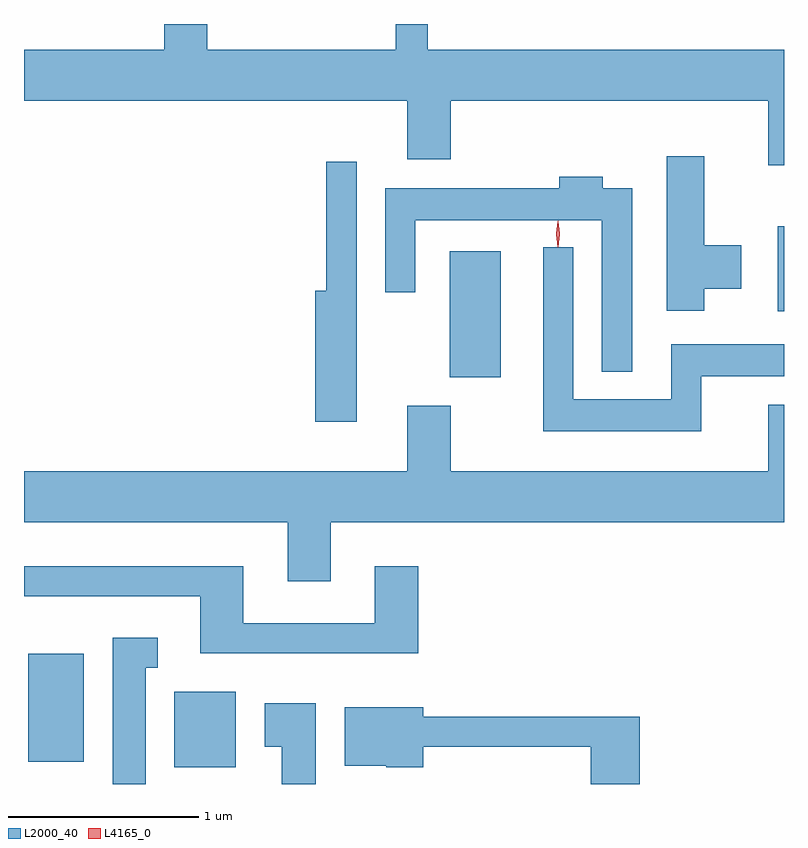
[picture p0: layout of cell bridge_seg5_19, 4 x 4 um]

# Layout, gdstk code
import gdstk
lib = gdstk.Library(unit=1e-6, precision=1e-09)
def R(c, l, rs):  # rectangles x0, y0, x1, y1
    for r in rs: c.add(gdstk.rectangle(r[:2], r[2:], *l))
def P(c, l, *ps):  # polygons
    for p in ps: c.add(gdstk.Polygon(p, *l))
L2000_40 = (2000, 40)
L4165_0 = (4165, 0)

bridge_seg5_19 = lib.new_cell('bridge_seg5_19')
R(bridge_seg5_19, L2000_40, [(1262.766,1473.266,1263.089,1473.664), (1261.996,1473.296,1262.289,1473.864), (1264.216,1475.321,1264.484,1475.984), (1265.941,1475.666,1265.974,1476.114)])
P(bridge_seg5_19, L2000_40, [(1265.974,1477.044),(1264.099,1477.044),(1264.099,1477.179),(1263.931,1477.179),(1263.931,1477.044),(1262.939,1477.044),(1262.939,1477.179),(1262.711,1477.179),(1262.711,1477.044),(1261.974,1477.044),(1261.974,1476.776),(1263.991,1476.776),(1263.991,1476.466),(1264.219,1476.466),(1264.219,1476.776),(1265.891,1476.776),(1265.891,1476.436),(1265.974,1476.436)],
  [(1265.554,1475.786),(1265.749,1475.786),(1265.749,1476.014),(1265.554,1476.014),(1265.554,1476.484),(1265.356,1476.484),(1265.356,1475.671),(1265.554,1475.671)],
  [(1263.724,1476.453),(1263.566,1476.453),(1263.566,1475.774),(1263.506,1475.774),(1263.506,1475.086),(1263.724,1475.086)],
  [(1265.174,1476.314),(1265.019,1476.314),(1265.019,1476.374),(1264.791,1476.374),(1264.791,1476.314),(1263.876,1476.314),(1263.876,1475.768),(1264.034,1475.768),(1264.034,1476.146),(1265.016,1476.146),(1265.016,1475.348),(1265.174,1475.348)],
  [(1265.539,1475.326),(1265.974,1475.326),(1265.974,1475.494),(1265.381,1475.494),(1265.381,1475.204),(1264.864,1475.204),(1264.864,1476.003),(1264.706,1476.003),(1264.706,1475.036),(1265.539,1475.036)],
  [(1263.589,1474.556),(1265.974,1474.556),(1265.974,1475.174),(1265.891,1475.174),(1265.891,1474.824),(1264.219,1474.824),(1264.219,1475.169),(1263.991,1475.169),(1263.991,1474.824),(1261.974,1474.824),(1261.974,1474.556),(1263.361,1474.556),(1263.361,1474.246),(1263.589,1474.246)],
  [(1264.049,1474.324),(1263.821,1474.324),(1263.821,1474.024),(1263.129,1474.024),(1263.129,1474.324),(1261.974,1474.324),(1261.974,1474.166),(1262.901,1474.166),(1262.901,1473.866),(1264.049,1473.866)],
  [(1262.614,1473.791),(1262.678,1473.791),(1262.678,1473.949),(1262.441,1473.949),(1262.441,1473.179),(1262.614,1473.179)],
  [(1263.509,1473.604),(1263.241,1473.604),(1263.241,1473.376),(1263.331,1473.376),(1263.331,1473.179),(1263.509,1473.179)],
  [(1265.214,1473.534),(1264.074,1473.534),(1264.074,1473.584),(1263.661,1473.584),(1263.661,1473.276),(1263.88,1473.276),(1263.88,1473.266),(1264.074,1473.266),(1264.074,1473.376),(1264.956,1473.376),(1264.956,1473.179),(1265.214,1473.179)])
P(bridge_seg5_19, L4165_0, [(1264.784,1476.004),(1264.775,1476.073),(1264.784,1476.142),(1264.785,1476.143),(1264.785,1476.142),(1264.795,1476.073),(1264.785,1476.004),(1264.785,1476.004)],
  [(1264.784,1476.007),(1264.784,1476.007),(1264.774,1476.074),(1264.784,1476.14),(1264.784,1476.14),(1264.785,1476.14),(1264.794,1476.074),(1264.785,1476.007)])

lib.write_gds('bridge_seg5_19.gds')
